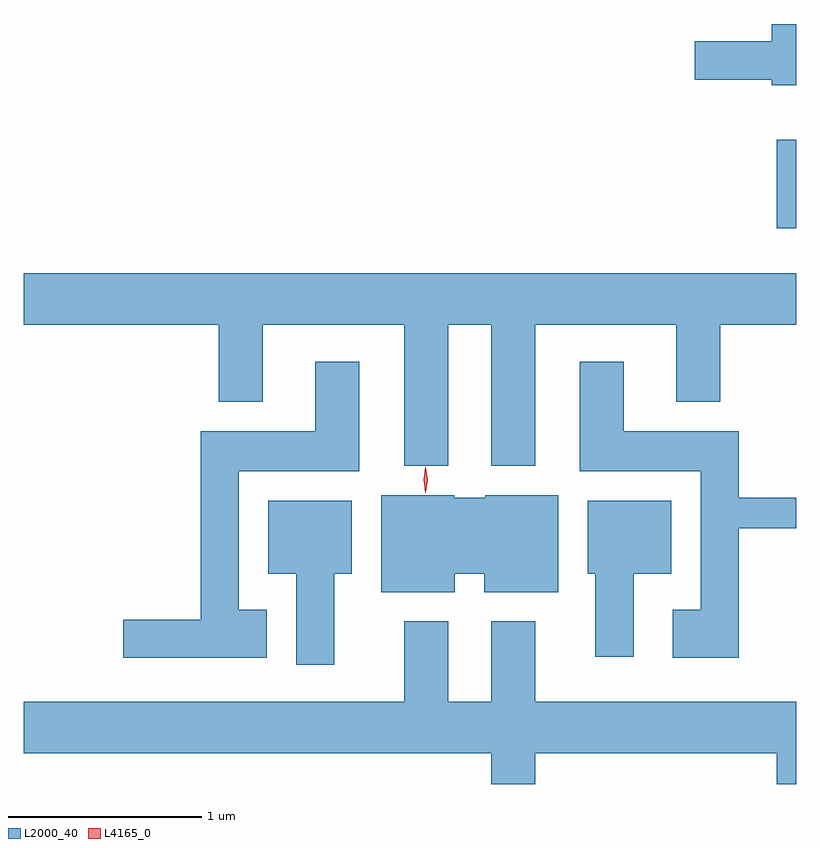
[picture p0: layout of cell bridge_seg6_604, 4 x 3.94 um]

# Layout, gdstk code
import gdstk
lib = gdstk.Library(unit=1e-6, precision=1e-09)
def R(c, l, rs):  # rectangles x0, y0, x1, y1
    for r in rs: c.add(gdstk.rectangle(r[:2], r[2:], *l))
def P(c, l, *ps):  # polygons
    for p in ps: c.add(gdstk.Polygon(p, *l))
L2000_40 = (2000, 40)
L4165_0 = (4165, 0)

bridge_seg6_604 = lib.new_cell('bridge_seg6_604')
R(bridge_seg6_604, L2000_40, [(227.901,1621.576,228.001,1622.034)])
P(bridge_seg6_604, L2000_40, [(228.001,1622.634),(227.876,1622.634),(227.876,1622.544),(227.476,1622.544),(227.476,1622.346),(227.876,1622.346),(227.876,1622.316),(228.001,1622.316)],
  [(226.199,1621.076),(226.421,1621.076),(226.421,1620.346),(226.649,1620.346),(226.649,1621.076),(227.381,1621.076),(227.381,1620.676),(227.609,1620.676),(227.609,1621.076),(228.001,1621.076),(228.001,1621.344),(224.001,1621.344),(224.001,1621.076),(225.011,1621.076),(225.011,1620.676),(225.239,1620.676),(225.239,1621.076),(225.971,1621.076),(225.971,1620.346),(226.199,1620.346)],
  [(227.704,1620.021),(228.001,1620.021),(228.001,1620.179),(227.704,1620.179),(227.704,1620.524),(227.109,1620.524),(227.109,1620.884),(226.881,1620.884),(226.881,1620.316),(227.506,1620.316),(227.506,1619.599),(227.361,1619.599),(227.361,1619.351),(227.704,1619.351)],
  [(225.259,1619.599),(225.114,1619.599),(225.114,1620.316),(225.739,1620.316),(225.739,1620.884),(225.511,1620.884),(225.511,1620.524),(224.916,1620.524),(224.916,1619.549),(224.516,1619.549),(224.516,1619.351),(225.259,1619.351)],
  [(226.234,1619.786),(226.386,1619.786),(226.386,1619.691),(226.769,1619.691),(226.769,1620.194),(226.39,1620.194),(226.39,1620.179),(226.23,1620.179),(226.23,1620.194),(225.851,1620.194),(225.851,1619.691),(226.234,1619.691)],
  [(227.159,1619.786),(227.354,1619.786),(227.354,1620.164),(226.921,1620.164),(226.921,1619.786),(226.961,1619.786),(226.961,1619.356),(227.159,1619.356)],
  [(225.609,1619.786),(225.699,1619.786),(225.699,1620.164),(225.266,1620.164),(225.266,1619.786),(225.411,1619.786),(225.411,1619.316),(225.609,1619.316)],
  [(226.649,1618.856),(227.901,1618.856),(227.901,1618.697),(228.001,1618.697),(228.001,1619.124),(226.649,1619.124),(226.649,1619.539),(226.421,1619.539),(226.421,1619.124),(226.199,1619.124),(226.199,1619.539),(225.971,1619.539),(225.971,1619.124),(224.001,1619.124),(224.001,1618.856),(226.421,1618.856),(226.421,1618.697),(226.649,1618.697)])
P(bridge_seg6_604, L4165_0, [(226.081,1620.206),(226.072,1620.272),(226.081,1620.339),(226.082,1620.339),(226.082,1620.339),(226.092,1620.272),(226.082,1620.206),(226.082,1620.206)])

lib.write_gds('bridge_seg6_604.gds')
